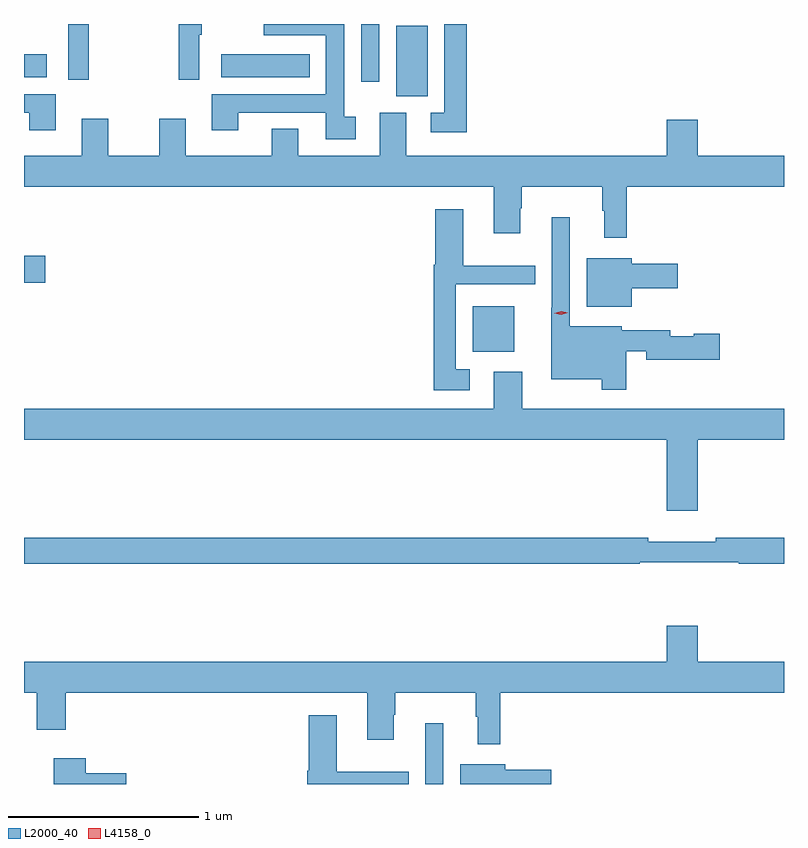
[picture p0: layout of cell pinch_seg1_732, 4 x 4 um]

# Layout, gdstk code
import gdstk
lib = gdstk.Library(unit=1e-6, precision=1e-09)
def R(c, l, rs):  # rectangles x0, y0, x1, y1
    for r in rs: c.add(gdstk.rectangle(r[:2], r[2:], *l))
def P(c, l, *ps):  # polygons
    for p in ps: c.add(gdstk.Polygon(p, *l))
L2000_40 = (2000, 40)
L4158_0 = (4158, 0)

pinch_seg1_732 = lib.new_cell('pinch_seg1_732')
R(pinch_seg1_732, L2000_40, [(871.029,515.289,871.125,515.608), (871.28,517.565,871.498,517.804), (868.918,517.928,869.029,518.07), (870.878,518.908,871.042,519.28), (870.693,518.985,870.789,519.289), (869.151,518.996,869.26,519.289), (868.918,519.008,869.038,519.13), (869.955,519.008,870.422,519.13)])
P(pinch_seg1_732, L2000_40, [(870.664,518.802),(870.603,518.802),(870.603,519.289),(870.179,519.289),(870.179,519.23),(870.507,519.23),(870.507,518.919),(869.906,518.919),(869.906,518.73),(870.046,518.73),(870.046,518.823),(870.506,518.823),(870.506,518.682),(870.664,518.682)],
  [(871.247,519.289),(871.131,519.289),(871.131,518.823),(871.059,518.823),(871.059,518.718),(871.247,518.718)],
  [(869.841,519.233),(869.854,519.233),(869.854,519.289),(869.733,519.289),(869.733,518.996),(869.841,518.996)],
  [(869.086,518.919),(868.918,518.919),(868.918,518.823),(868.946,518.823),(868.946,518.73),(869.086,518.73)],
  [(872.09,518.432),(872.918,518.432),(872.918,518.596),(872.464,518.596),(872.464,518.785),(872.3,518.785),(872.3,518.596),(870.931,518.596),(870.931,518.823),(870.791,518.823),(870.791,518.596),(870.361,518.596),(870.361,518.738),(870.221,518.738),(870.221,518.596),(869.77,518.596),(869.77,518.791),(869.63,518.791),(869.63,518.596),(869.362,518.596),(869.362,518.791),(869.222,518.791),(869.222,518.596),(868.918,518.596),(868.918,518.432),(871.391,518.432),(871.391,518.187),(871.531,518.187),(871.531,518.318),(871.539,518.318),(871.539,518.432),(871.962,518.432),(871.962,518.306),(871.973,518.306),(871.973,518.163),(872.09,518.163)],
  [(871.264,517.471),(871.191,517.471),(871.191,517.92),(871.61,517.92),(871.61,518.017),(871.231,518.017),(871.231,518.314),(871.082,518.314),(871.082,518.023),(871.075,518.023),(871.075,517.362),(871.264,517.362)],
  [(872.087,517.566),(872.192,517.566),(872.192,517.523),(872.581,517.523),(872.581,517.658),(872.442,517.658),(872.442,517.645),(872.32,517.645),(872.32,517.677),(872.064,517.677),(872.064,517.699),(871.791,517.699),(871.791,518.272),(871.695,518.272),(871.695,517.795),(871.694,517.795),(871.694,517.418),(871.959,517.418),(871.959,517.365),(872.087,517.365)],
  [(872.116,517.898),(872.359,517.898),(872.359,518.028),(872.116,518.028),(872.116,518.056),(871.88,518.056),(871.88,517.802),(872.116,517.802)],
  [(872.464,517.1),(872.918,517.1),(872.918,517.264),(871.54,517.264),(871.54,517.459),(871.391,517.459),(871.391,517.264),(868.918,517.264),(868.918,517.1),(872.3,517.1),(872.3,516.726),(872.464,516.726)],
  [(872.159,516.456),(872.68,516.456),(872.68,516.448),(872.918,516.448),(872.918,516.584),(872.56,516.584),(872.56,516.565),(872.204,516.565),(872.204,516.584),(868.918,516.584),(868.918,516.448),(872.159,516.448)],
  [(871.424,515.768),(872.918,515.768),(872.918,515.932),(872.464,515.932),(872.464,516.121),(872.3,516.121),(872.3,515.932),(868.918,515.932),(868.918,515.768),(868.985,515.768),(868.985,515.574),(869.138,515.574),(869.138,515.768),(870.725,515.768),(870.725,515.523),(870.865,515.523),(870.865,515.654),(870.873,515.654),(870.873,515.768),(871.296,515.768),(871.296,515.642),(871.307,515.642),(871.307,515.499),(871.424,515.499)],
  [(870.944,515.353),(870.565,515.353),(870.565,515.65),(870.416,515.65),(870.416,515.359),(870.409,515.359),(870.409,515.289),(870.944,515.289)],
  [(869.455,515.346),(869.243,515.346),(869.243,515.425),(869.075,515.425),(869.075,515.289),(869.455,515.289)],
  [(871.693,515.364),(871.45,515.364),(871.45,515.392),(871.214,515.392),(871.214,515.289),(871.693,515.289)])
P(pinch_seg1_732, L4158_0, [(871.746,517.758),(871.71,517.767),(871.71,517.767),(871.71,517.767),(871.745,517.778),(871.781,517.77),(871.781,517.77),(871.781,517.77)])

lib.write_gds('pinch_seg1_732.gds')
